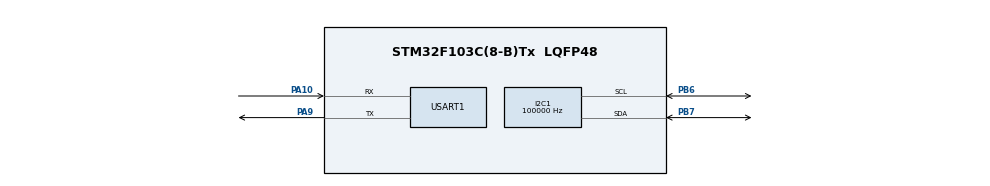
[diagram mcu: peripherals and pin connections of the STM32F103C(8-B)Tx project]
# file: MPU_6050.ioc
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I2C1.ClockSpeed=100000
Mcu.Family=STM32F1
Mcu.Name=STM32F103C(8-B)Tx
Mcu.Package=LQFP48
NVIC.PriorityGroup=NVIC_PRIORITYGROUP_4
PA10.Mode=Asynchronous
PA10.Signal=USART1_RX
PA13.Mode=Serial_Wire
PA13.Signal=SYS_JTMS-SWDIO
PA14.Mode=Serial_Wire
PA14.Signal=SYS_JTCK-SWCLK
PA9.Mode=Asynchronous
PA9.Signal=USART1_TX
PB6.Mode=I2C
PB6.Signal=I2C1_SCL
PB7.Mode=I2C
PB7.Signal=I2C1_SDA
PD0-OSC_IN.Mode=HSE-External-Oscillator
PD0-OSC_IN.Signal=RCC_OSC_IN
PD1-OSC_OUT.Mode=HSE-External-Oscillator
PD1-OSC_OUT.Signal=RCC_OSC_OUT
ProjectManager.HeapSize=0x200
ProjectManager.StackSize=0x400
ProjectManager.TargetToolchain=STM32CubeIDE
RCC.APB1Freq_Value=8000000
RCC.APB2Freq_Value=8000000
USART1.VirtualMode=VM_ASYNC
board=custom

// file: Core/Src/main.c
/* USER CODE BEGIN Header */
/**
 ******************************************************************************
 * @file           : main.c
 * @brief          : Main program body
 ******************************************************************************
 * @attention
 *
 * <h2><center>&copy; Copyright (c) 2023 STMicroelectronics.
 * All rights reserved.</center></h2>
 *
 * This software component is licensed by ST under BSD 3-Clause license,
 * the "License"; You may not use this file except in compliance with the
 * License. You may obtain a copy of the License at:
 *                        opensource.org/licenses/BSD-3-Clause
 *
 ******************************************************************************
 */
/* USER CODE END Header */
#include "main.h"

/* USER CODE BEGIN Includes */
#include "stdio.h"
#include "stdarg.h"
#include "i2c.h"
#include "mpu6050.h"
/* USER CODE END Includes */

I2C_HandleTypeDef hi2c1;

UART_HandleTypeDef huart1;

/* USER CODE BEGIN PV */

double mpuData[7];
uint8_t i = 0;

MPU6050_t MPU6050;
uint8_t mpuResponse = 0;

/* USER CODE END PV */

void SystemClock_Config(void);
static void MX_GPIO_Init(void);
static void MX_USART1_UART_Init(void);

/* USER CODE BEGIN 0 */
int bufferSize(const char *str) {
	int count = 0;

	// Iterate through the string until a null character is encountered

	while (*str++ != '\0')
		count++;

//	while (str[count] != '\0') {
//		count++;
//	}

	return count;
}

void myprintf(const char *fmt, ...) {
	static char temp[500];
	va_list args;
	va_start(args, fmt);
	vsnprintf(temp, sizeof(temp), fmt, args);
	va_end(args);
	int len = bufferSize(temp);
	HAL_UART_Transmit(&huart1, (uint8_t*) temp, len, 1000);
}

/* USER CODE END 0 */

int main(void) {

	/* MCU Configuration--------------------------------------------------------*/

	/* Reset of all peripherals, Initializes the Flash interface and the Systick. */
	HAL_Init();

	/* USER CODE BEGIN Init */
	char tempBuffer[500];
	/* USER CODE END Init */

	/* Configure the system clock */
	SystemClock_Config();

	/* Initialize all configured peripherals */
	MX_GPIO_Init();
	MX_I2C1_Init();
	MX_USART1_UART_Init();
	/* USER CODE BEGIN 2 */

	if (MPU6050_Init(&hi2c1) == 1) {
		mpuResponse = 1;
	}

	/* USER CODE END 2 */

	/* Infinite loop */
	/* USER CODE BEGIN WHILE */
	while (1) {

		MPU6050_Read_All(&hi2c1, &MPU6050);
		HAL_Delay(1000);
		mpuData[0] = i++;
		mpuData[1] = MPU6050.Ax;
		mpuData[2] = MPU6050.Ay;
		mpuData[3] = MPU6050.Az;
		mpuData[4] = MPU6050.Gx;
		mpuData[5] = MPU6050.Gy;
		mpuData[6] = MPU6050.Gz;

		sprintf(tempBuffer, "%.2f %.21f %.21f %.21f %.21f %.21f %.21f\r\n",
				mpuData[0], mpuData[1], mpuData[2], mpuData[3], mpuData[4],
				mpuData[5], mpuData[6]);
		myprintf(tempBuffer);

		/* USER CODE END WHILE */

	}
}

void SystemClock_Config(void) {
	RCC_OscInitTypeDef RCC_OscInitStruct = { 0 };
	RCC_ClkInitTypeDef RCC_ClkInitStruct = { 0 };

	/** Initializes the RCC Oscillators according to the specified parameters
	 * in the RCC_OscInitTypeDef structure.
	 */
	RCC_OscInitStruct.OscillatorType = RCC_OSCILLATORTYPE_HSI;
	RCC_OscInitStruct.HSIState = RCC_HSI_ON;
	RCC_OscInitStruct.HSICalibrationValue = RCC_HSICALIBRATION_DEFAULT;
	RCC_OscInitStruct.PLL.PLLState = RCC_PLL_NONE;
	if (HAL_RCC_OscConfig(&RCC_OscInitStruct) != HAL_OK) {
		Error_Handler();
	}
	/** Initializes the CPU, AHB and APB buses clocks
	 */
	RCC_ClkInitStruct.ClockType = RCC_CLOCKTYPE_HCLK | RCC_CLOCKTYPE_SYSCLK
			| RCC_CLOCKTYPE_PCLK1 | RCC_CLOCKTYPE_PCLK2;
	RCC_ClkInitStruct.SYSCLKSource = RCC_SYSCLKSOURCE_HSI;
	RCC_ClkInitStruct.AHBCLKDivider = RCC_SYSCLK_DIV1;
	RCC_ClkInitStruct.APB1CLKDivider = RCC_HCLK_DIV1;
	RCC_ClkInitStruct.APB2CLKDivider = RCC_HCLK_DIV1;

	if (HAL_RCC_ClockConfig(&RCC_ClkInitStruct, FLASH_LATENCY_0) != HAL_OK) {
		Error_Handler();
	}
}

static void MX_USART1_UART_Init(void) {

	huart1.Instance = USART1;
	huart1.Init.BaudRate = 115200;
	huart1.Init.WordLength = UART_WORDLENGTH_8B;
	huart1.Init.StopBits = UART_STOPBITS_1;
	huart1.Init.Parity = UART_PARITY_NONE;
	huart1.Init.Mode = UART_MODE_TX_RX;
	huart1.Init.HwFlowCtl = UART_HWCONTROL_NONE;
	huart1.Init.OverSampling = UART_OVERSAMPLING_16;
	if (HAL_UART_Init(&huart1) != HAL_OK) {
		Error_Handler();
	}

}

static void MX_GPIO_Init(void) {

	/* GPIO Ports Clock Enable */
	__HAL_RCC_GPIOD_CLK_ENABLE();
	__HAL_RCC_GPIOA_CLK_ENABLE();
	__HAL_RCC_GPIOB_CLK_ENABLE();

}

void Error_Handler(void) {
	__disable_irq();
	while (1) {
	}
}

/************************ (C) COPYRIGHT STMicroelectronics *****END OF FILE****/
